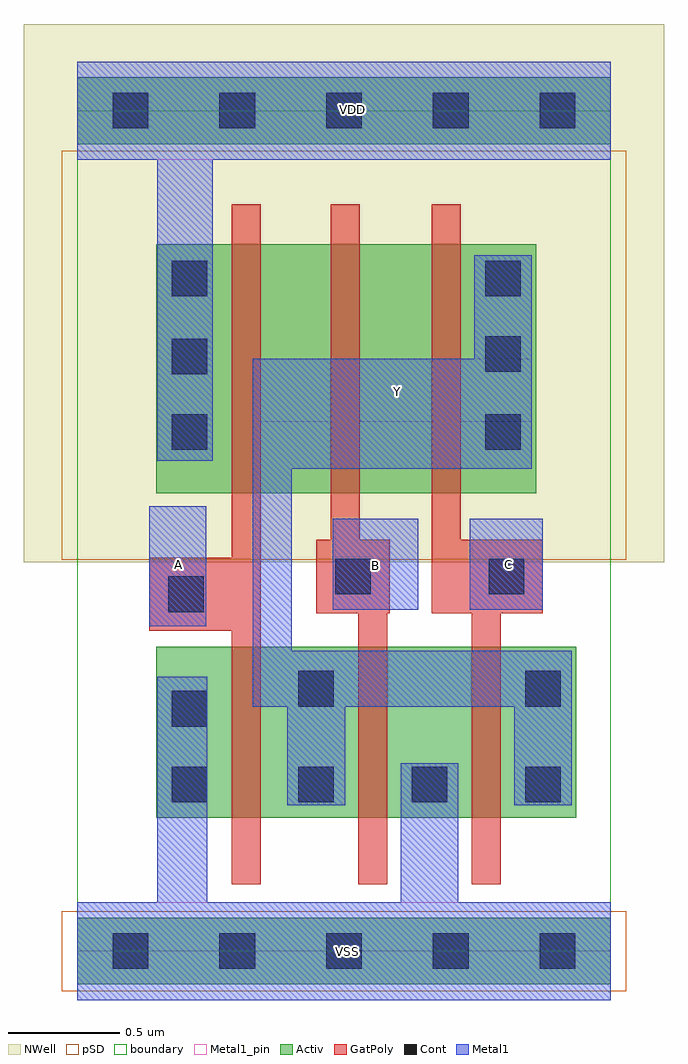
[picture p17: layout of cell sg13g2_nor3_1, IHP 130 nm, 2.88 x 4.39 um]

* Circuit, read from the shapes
.subckt sg13g2_nor3_1 A B C VDD VSS Y
XM1 Y A VSS VSS sg13_lv_nmos w=0.77u l=0.13u
XM2 VSS B Y VSS sg13_lv_nmos w=0.77u l=0.13u
XM3 Y C VSS VSS sg13_lv_nmos w=0.77u l=0.13u
XM4 n1 A VDD VDD sg13_lv_pmos w=1.12u l=0.13u
XM5 n2 B n1 VDD sg13_lv_pmos w=1.12u l=0.13u
XM6 Y C n2 VDD sg13_lv_pmos w=1.12u l=0.13u
.ends

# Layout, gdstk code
import gdstk
lib = gdstk.Library(unit=1e-6, precision=1e-09)
def R(c, l, rs):  # rectangles x0, y0, x1, y1
    for r in rs: c.add(gdstk.rectangle(r[:2], r[2:], *l))
def A(c, l, x, y, w, h, nx, ny, dx, dy):  # array of equal rectangles
    R(c, l, [(x+i*dx, y+j*dy, x+i*dx+w, y+j*dy+h) for i in range(nx) for j in range(ny)])
def P(c, l, *ps):  # polygons
    for p in ps: c.add(gdstk.Polygon(p, *l))
Activ = (1, 0)
GatPoly = (5, 0)
Cont = (6, 0)
Metal1 = (8, 0)
Metal1_pin = (8, 2)
pSD = (14, 0)
NWell = (31, 0)
boundary = (189, 4)

sg13g2_nor3_1 = lib.new_cell('sg13g2_nor3_1')
R(sg13g2_nor3_1, Activ, [(0,-0.15,2.4,0.15), (0.355,0.6,2.245,1.37), (0.355,2.06,2.065,3.18), (0,3.63,2.4,3.93)])
P(sg13g2_nor3_1, GatPoly, [(0.825,3.36),(0.695,3.36),(0.695,1.77),(0.325,1.77),(0.325,1.44),(0.695,1.44),(0.695,0.3),(0.825,0.3)],
  [(1.405,1.85),(1.27,1.85),(1.27,3.36),(1.14,3.36),(1.14,1.85),(1.075,1.85),(1.075,1.52),(1.265,1.52),(1.265,0.3),(1.395,0.3),(1.395,1.52),(1.405,1.52)],
  [(2.095,1.85),(1.725,1.85),(1.725,3.36),(1.595,3.36),(1.595,1.52),(1.775,1.52),(1.775,0.3),(1.905,0.3),(1.905,1.52),(2.095,1.52)])
A(sg13g2_nor3_1, Cont, 0.995, 0.67, 0.16, 0.16, 3, 1, 0.51, 0)
R(sg13g2_nor3_1, Cont, [(0.16,-0.08,0.32,0.08), (0.16,-0.08,0.32,0.08), (0.64,-0.08,0.8,0.08), (0.64,-0.08,0.8,0.08), (1.12,-0.08,1.28,0.08), (1.12,-0.08,1.28,0.08), (1.6,-0.08,1.76,0.08), (1.6,-0.08,1.76,0.08), (2.08,-0.08,2.24,0.08), (2.08,-0.08,2.24,0.08), (0.425,0.67,0.585,0.83), (0.425,1.01,0.585,1.17), (0.995,1.1,1.155,1.26), (2.015,1.1,2.175,1.26), (0.41,1.525,0.57,1.685), (1.16,1.605,1.32,1.765), (1.85,1.605,2.01,1.765), (0.425,2.255,0.585,2.415), (1.835,2.255,1.995,2.415), (0.425,2.595,0.585,2.755), (1.835,2.605,1.995,2.765), (0.425,2.945,0.585,3.105), (1.835,2.945,1.995,3.105), (0.16,3.7,0.32,3.86), (0.16,3.7,0.32,3.86), (0.64,3.7,0.8,3.86), (0.64,3.7,0.8,3.86), (1.12,3.7,1.28,3.86), (1.12,3.7,1.28,3.86), (1.6,3.7,1.76,3.86), (1.6,3.7,1.76,3.86), (2.08,3.7,2.24,3.86), (2.08,3.7,2.24,3.86)])
R(sg13g2_nor3_1, Metal1, [(0.325,1.46,0.58,2), (1.15,1.535,1.535,1.945), (1.765,1.535,2.095,1.945)])
P(sg13g2_nor3_1, Metal1, [(2.4,0.22),(1.715,0.22),(1.715,0.845),(1.455,0.845),(1.455,0.22),(0.585,0.22),(0.585,1.235),(0.36,1.235),(0.36,0.22),(0,0.22),(0,-0.22),(2.4,-0.22)],
  [(2.4,4),(0,4),(0,3.56),(0.36,3.56),(0.36,2.205),(0.61,2.205),(0.61,3.56),(2.4,3.56)],
  [(2.045,3.13),(1.785,3.13),(1.785,2.665),(0.79,2.665),(0.79,1.1),(0.945,1.1),(0.945,0.655),(1.205,0.655),(1.205,1.1),(1.965,1.1),(1.965,0.655),(2.225,0.655),(2.225,1.35),(0.965,1.35),(0.965,2.17),(2.045,2.17)])
R(sg13g2_nor3_1, Metal1_pin, [(0,-0.22,2.4,0.22), (0.325,1.46,0.58,2), (1.15,1.535,1.535,1.945), (1.765,1.535,2.095,1.945), (0.79,2.38,2.045,2.665), (0,3.56,2.4,4)])
R(sg13g2_nor3_1, pSD, [(-0.07,-0.18,2.47,0.18), (-0.07,1.76,2.47,3.6)])
R(sg13g2_nor3_1, NWell, [(-0.24,1.75,2.64,4.17)])
R(sg13g2_nor3_1, boundary, [(0,0,2.4,3.78)])
sg13g2_nor3_1.add(gdstk.Label('A', (0.455,1.74), layer=8, texttype=25))
sg13g2_nor3_1.add(gdstk.Label('Y', (1.44,2.515), layer=8, texttype=25))
sg13g2_nor3_1.add(gdstk.Label('B', (1.34,1.735), layer=8, texttype=25))
sg13g2_nor3_1.add(gdstk.Label('C', (1.94,1.74), layer=8, texttype=25))
sg13g2_nor3_1.add(gdstk.Label('VDD', (1.24,3.785), layer=8, texttype=25))
sg13g2_nor3_1.add(gdstk.Label('VSS', (1.215,0), layer=8, texttype=25))

lib.write_gds('sg13g2_nor3_1.gds')
